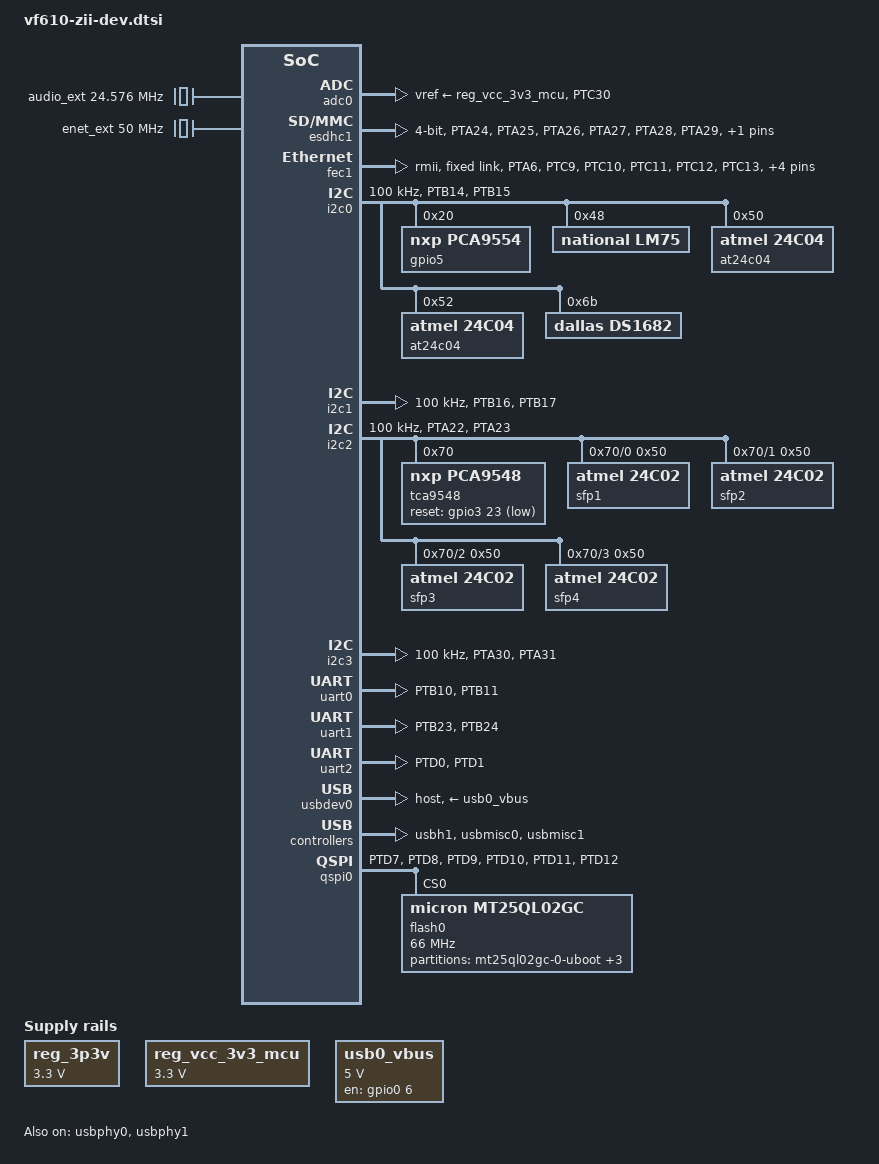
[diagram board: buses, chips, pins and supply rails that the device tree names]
/*
 * Copyright 2013 Freescale Semiconductor, Inc.
 *
 * This program is free software; you can redistribute it and/or modify
 * it under the terms of the GNU General Public License as published by
 * the Free Software Foundation; either version 2 of the License, or
 * (at your option) any later version.
 */

#include "vf610.dtsi"

/ {
	audio_ext: mclk-osc {
		compatible = "fixed-clock";
		#clock-cells = <0>;
		clock-frequency = <24576000>;
	};

	enet_ext: eth-osc {
		compatible = "fixed-clock";
		#clock-cells = <0>;
		clock-frequency = <50000000>;
	};

	regulators {
		compatible = "simple-bus";
		#address-cells = <1>;
		#size-cells = <0>;

		reg_3p3v: regulator@0 {
			compatible = "regulator-fixed";
			reg = <0>;
			regulator-name = "3P3V";
			regulator-min-microvolt = <3300000>;
			regulator-max-microvolt = <3300000>;
			regulator-always-on;
		};

		reg_vcc_3v3_mcu: regulator@1 {
			compatible = "regulator-fixed";
			reg = <1>;
			regulator-name = "vcc_3v3_mcu";
			regulator-min-microvolt = <3300000>;
			regulator-max-microvolt = <3300000>;
		};

		usb0_vbus: regulator@2 {
			compatible = "regulator-fixed";
			pinctrl-0 = <&pinctrl_usb_vbus>;
			reg = <2>;
			regulator-name = "usb_vbus";
			regulator-min-microvolt = <5000000>;
			regulator-max-microvolt = <5000000>;
			enable-active-high;
			regulator-always-on;
			regulator-boot-on;
			gpio = <&gpio0 6 0>;
		};
	};

	nameplate {
		compatible = "zii,nameplate";
		status = "okay";

		nvmem-cells = <&lru_part_number
			   &lru_serial_number
			   &lru_date_of_manufacture
			   &lru_mod
			   &board_part_number
			   &board_serial_number
			   &board_date_of_manufacture
			   &board_initial_rev
			   &board_update_dom
			   &board_update_rev
			   &if_board_part_number
			   &if_board_serial_number
			   &if_board_date_of_manufacture
			   &if_board_initial_rev
			   &if_board_update_dom
			   &if_board_update_rev
			   &if_mod
			   &if_lru_identifier>;
		nvmem-cell-names = "lru_part_number",
			   "lru_serial_number",
			   "lru_date_of_manufacture",
			   "lru_mod",
			   "board_part_number",
			   "board_serial_number",
			   "board_date_of_manufacture",
			   "board_initial_rev",
			   "board_update_dom",
			   "board_update_rev",
			   "if_board_part_number",
			   "if_board_serial_number",
			   "if_board_date_of_manufacture",
			   "if_board_initial_rev",
			   "if_board_update_dom",
			   "if_board_update_rev",
			   "if_mod",
			   "if_lru_identifier";

		strings = "lru_part_number",
			   "lru_serial_number",
			   "lru_date_of_manufacture",
			   "board_part_number",
			   "board_serial_number",
			   "board_date_of_manufacture",
			   "board_initial_rev",
			   "board_update_dom",
			   "board_update_rev",
			   "if_board_part_number",
			   "if_board_serial_number",
			   "if_board_date_of_manufacture",
			   "if_board_initial_rev",
			   "if_board_update_dom",
			   "if_board_update_rev";

		integers = "lru_mod",
			   "if_mod",
			   "if_lru_identifier";
	};
};

&adc0 {
	pinctrl-names = "default";
	pinctrl-0 = <&pinctrl_adc0_ad5>;
	vref-supply = <&reg_vcc_3v3_mcu>;
	status = "okay";
};

&edma0 {
	status = "okay";
};

&esdhc1 {
	pinctrl-names = "default";
	pinctrl-0 = <&pinctrl_esdhc1>;
	bus-width = <4>;
	status = "okay";
};

&fec1 {
	phy-mode = "rmii";
	pinctrl-names = "default";
	pinctrl-0 = <&pinctrl_fec1>;
	status = "okay";

	fixed-link {
		   speed = <100>;
		   full-duplex;
	};

	mdio1: mdio {
		#address-cells = <1>;
		#size-cells = <0>;
		status = "okay";
	};
};

&i2c0 {
	clock-frequency = <100000>;
	pinctrl-names = "default";
	pinctrl-0 = <&pinctrl_i2c0>;
	status = "okay";

	gpio5: pca9505@20 {
		compatible = "nxp,pca9554";
		reg = <0x20>;
		gpio-controller;
		#gpio-cells = <2>;
	};

	lm75@48 {
		compatible = "national,lm75";
		reg = <0x48>;
	};

	at24c04@50 {
		compatible = "atmel,24c04";
		reg = <0x50>;
		#address-cells = <2>;
		#size-cells = <0>;

		lru_part_number: lru-part-number@0 {
			reg = <0 20>;
		};

		lru_serial_number: lru-serial-number@20 {
			reg = <20 10>;
		};

		lru_date_of_manufacture: lru-date-of-manufacture@30 {
			reg = <30 7>;
		};

		lru_mod: lru-mod@37 {
			reg = <37 4>;
		};

		board_part_number: board-part-number@41 {
			reg = <41 20>;
		};

		board_serial_number: board-serial-number@61 {
			reg = <61 10>;
		};

		board_date_of_manufacture: board-date-of-manufacture@71 {
			reg = <71 7>;
		};

		board_initial_rev: board-initial-rev@78 {
			reg = <78 5>;
		};

		board_update_dom: board-update-dom@83 {
			reg = <83 5>;
		};

		board_update_rev: board-update-rev@88 {
			reg = <88 5>;
		};
	};

	at24c04@52 {
		compatible = "atmel,24c04";
		reg = <0x52>;
		#address-cells = <2>;
		#size-cells = <0>;

		if_board_part_number: board-part-number@0 {
			reg = <0 20>;
		};

		if_board_serial_number: board-serial-number@20 {
			reg = <20 10>;
		};

		if_board_date_of_manufacture: board-date-of-manufacture@30 {
			reg = <30 7>;
		};

		if_board_initial_rev: board-initial-rev@38 {
			reg = <37 5>;
		};

		if_board_update_dom: board-update-dom@43 {
			reg = <43 5>;
		};

		if_board_update_rev: board-update-rev@48 {
			reg = <48 5>;
		};

		if_mod: if-mod@53 {
			reg = <52 4>;
		};

		if_lru_identifier: if-lru-identifer@ {
			reg = <56 1>;
		};
	};

	ds1682@6b {
		compatible = "dallas,ds1682";
		reg = <0x6b>;
	};
};

&i2c1 {
	clock-frequency = <100000>;
	pinctrl-names = "default";
	pinctrl-0 = <&pinctrl_i2c1>;
	status = "okay";
};

&i2c2 {
	clock-frequency = <100000>;
	pinctrl-names = "default";
	pinctrl-0 = <&pinctrl_i2c2>;
	status = "okay";

	tca9548@70 {
		compatible = "nxp,pca9548";
		#address-cells = <1>;
		#size-cells = <0>;
		reg = <0x70>;
		reset-gpios = <&gpio3 23 GPIO_ACTIVE_LOW>;

		i2c2_0: i2c@0 {
			#address-cells = <1>;
			#size-cells = <0>;
			reg = <0>;

			sfp1: at24c04@50 {
				compatible = "atmel,24c02";
				reg = <0x50>;
			};
		};

		i2c2_1: i2c@1 {
			#address-cells = <1>;
			#size-cells = <0>;
			reg = <1>;

			sfp2: at24c04@50 {
				compatible = "atmel,24c02";
				reg = <0x50>;
			};
		};

		i2c2_2: i2c@2 {
			#address-cells = <1>;
			#size-cells = <0>;
			reg = <2>;

			sfp3: at24c04@50 {
				compatible = "atmel,24c02";
				reg = <0x50>;
			};
		};

		i2c2_3:  i2c@3 {
			#address-cells = <1>;
			#size-cells = <0>;
			reg = <3>;

			sfp4: at24c04@50 {
				compatible = "atmel,24c02";
				reg = <0x50>;
			};

		};

		i2c2_4: i2c@4 {
			#address-cells = <1>;
			#size-cells = <0>;
			reg = <4>;
		};
	};
};

&i2c3 {
	clock-frequency = <100000>;
	pinctrl-names = "default";
	pinctrl-0 = <&pinctrl_i2c3>;
	status = "okay";
};

&iomuxc {
	pinctrl-names = "default";
	pinctrl-0 = <&pinctrl_i2c_mux_reset>;

	vf610-zii {
		pinctrl_usb_vbus: pinctrl-usb-vbus {
			fsl,pins = <
				VF610_PAD_PTA16__GPIO_6	0x31c2
			>;
		};

		pinctrl_i2c_mux_reset: pinctrl-i2c-mux-reset {
			fsl,pins = <
				 VF610_PAD_PTE14__GPIO_119	0x31c2
				 >;
		};

		pinctrl_adc0_ad5: adc0ad5grp {
			fsl,pins = <
				VF610_PAD_PTC30__ADC0_SE5		0xa1
			>;
		};

		pinctrl_esdhc1: esdhc1grp {
			fsl,pins = <
				VF610_PAD_PTA24__ESDHC1_CLK	0x31ef
				VF610_PAD_PTA25__ESDHC1_CMD	0x31ef
				VF610_PAD_PTA26__ESDHC1_DAT0	0x31ef
				VF610_PAD_PTA27__ESDHC1_DAT1	0x31ef
				VF610_PAD_PTA28__ESDHC1_DATA2	0x31ef
				VF610_PAD_PTA29__ESDHC1_DAT3	0x31ef
				VF610_PAD_PTA7__GPIO_134	0x219d
			>;
		};

		pinctrl_fec1: fec1grp {
			fsl,pins = <
				VF610_PAD_PTA6__RMII_CLKIN		0x30d1
				VF610_PAD_PTC9__ENET_RMII1_MDC		0x30d2
				VF610_PAD_PTC10__ENET_RMII1_MDIO	0x30d3
				VF610_PAD_PTC11__ENET_RMII1_CRS		0x30d1
				VF610_PAD_PTC12__ENET_RMII1_RXD1	0x30d1
				VF610_PAD_PTC13__ENET_RMII1_RXD0	0x30d1
				VF610_PAD_PTC14__ENET_RMII1_RXER	0x30d1
				VF610_PAD_PTC15__ENET_RMII1_TXD1	0x30d2
				VF610_PAD_PTC16__ENET_RMII1_TXD0	0x30d2
				VF610_PAD_PTC17__ENET_RMII1_TXEN	0x30d2
			>;
		};

		/* -------------------------------------------------------------
		 * speed:		  high (200 MHz)
		 * slew rate:		  slow
		 * open drain:		  enabled
		 * hysteresis:		  Schmitt trigger
		 * drive strength:	  20 Ohm
		 * pull strength:	  22 kOhm pull-up
		 * pull / keeper:	  enabled
		 * pull / keeper select:  pull
		 * output buffer:	  enabled
		 * input buffer:	  enabled
		 */
		pinctrl_i2c0: i2c0grp {
			fsl,pins = <
				VF610_PAD_PTB14__I2C0_SCL		0x37ff
				VF610_PAD_PTB15__I2C0_SDA		0x37ff
			>;
		};

		pinctrl_i2c1: i2c1grp {
			fsl,pins = <
				VF610_PAD_PTB16__I2C1_SCL		0x37ff
				VF610_PAD_PTB17__I2C1_SDA		0x37ff
			>;
		};

		pinctrl_i2c2: i2c2grp {
			fsl,pins = <
				VF610_PAD_PTA22__I2C2_SCL		0x37ff
				VF610_PAD_PTA23__I2C2_SDA		0x37ff
			>;
		};

		pinctrl_i2c3: i2c3grp {
			fsl,pins = <
				VF610_PAD_PTA30__I2C3_SCL		0x37ff
				VF610_PAD_PTA31__I2C3_SDA		0x37ff
			>;
		};

		pinctrl_pwm0: pwm0grp {
			fsl,pins = <
				VF610_PAD_PTB0__FTM0_CH0		0x1582
				VF610_PAD_PTB1__FTM0_CH1		0x1582
				VF610_PAD_PTB2__FTM0_CH2		0x1582
				VF610_PAD_PTB3__FTM0_CH3		0x1582
			>;
		};

		pinctrl_uart0: uart0grp {
			fsl,pins = <
				VF610_PAD_PTB10__UART0_TX		0x21a2
				VF610_PAD_PTB11__UART0_RX		0x21a1
			>;
		};

		pinctrl_uart1: uart1grp {
			fsl,pins = <
				VF610_PAD_PTB23__UART1_TX		0x21a2
				VF610_PAD_PTB24__UART1_RX		0x21a1
			>;
		};

		pinctrl_uart2: uart2grp {
			fsl,pins = <
				VF610_PAD_PTD0__UART2_TX		0x21a2
				VF610_PAD_PTD1__UART2_RX		0x21a1
			>;
		};

		pinctrl_qspi0: qspi0grp {
			fsl,pins = <
				VF610_PAD_PTD7__QSPI0_B_QSCK		0x31c3
				VF610_PAD_PTD8__QSPI0_B_CS0		0x31ff
				VF610_PAD_PTD9__QSPI0_B_DATA3		0x31c3
				VF610_PAD_PTD10__QSPI0_B_DATA2		0x31c3
				VF610_PAD_PTD11__QSPI0_B_DATA1		0x31c3
				VF610_PAD_PTD12__QSPI0_B_DATA0		0x31c3
			>;
		};

		pinctrl_usb0_host: usb0-host-grp {
			fsl,pins = <
				VF610_PAD_PTD6__GPIO_85			0x62
			>;
		};
	};
};

&L2 {
	arm,data-latency = <2 1 2>;
	arm,tag-latency = <3 2 3>;
};

&uart0 {
	pinctrl-names = "default";
	pinctrl-0 = <&pinctrl_uart0>;
	status = "okay";
};

&uart1 {
	pinctrl-names = "default";
	pinctrl-0 = <&pinctrl_uart1>;
	status = "okay";
};

&uart2 {
	pinctrl-names = "default";
	pinctrl-0 = <&pinctrl_uart2>;
	status = "okay";
};

&usbdev0 {
	disable-over-current;
	status = "okay";
	vbus-supply = <&usb0_vbus>;
	dr_mode = "host";
};

&usbh1 {
	disable-over-current;
	status = "okay";
};

&usbmisc0 {
	status = "okay";
};

&usbmisc1 {
	status = "okay";
};

&usbphy0 {
	status = "okay";
};

&usbphy1 {
	status = "okay";
};

&qspi0 {
	pinctrl-names = "default";
	pinctrl-0 = <&pinctrl_qspi0>;
	fsl,nor-size = <0x10000000>;
	fsl,spi-num-chipselects = <2>;
	status = "okay";

	flash0: mt25ql02gc@0 {
		#address-cells = <1>;
		#size-cells = <1>;
		compatible = "micron,mt25ql02gc";
		spi-max-frequency = <66000000>;
		reg = <0>;

		partition@0 {
			label = "mt25ql02gc-0-uboot";
			reg = <0x0 0x0100000>;
		};

		partition2@100000 {
			label = "mt25ql02gc-0-dtb";
			reg = <0x0100000 0x0100000>;
		};

		partition3@200000 {
			label = "mt25ql02gc-0-kernel";
			reg = <0x0200000 0x0500000>;
		};

		partition4@700000 {
			label = "mt25ql02gc-0-rfs";
			reg = <0x0600000 0x8000000>;
		};
	};
};
